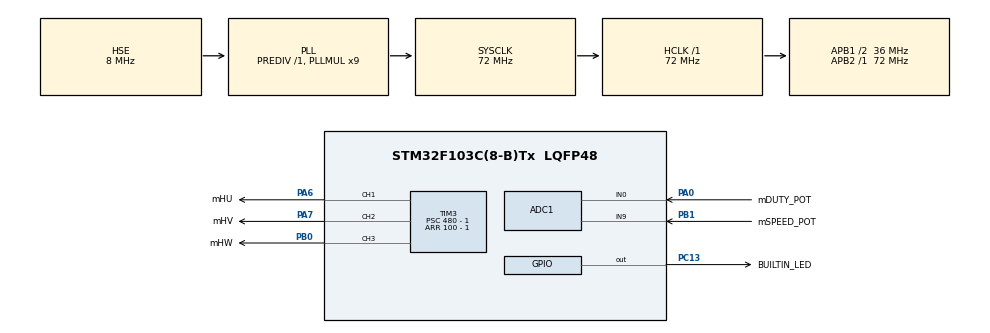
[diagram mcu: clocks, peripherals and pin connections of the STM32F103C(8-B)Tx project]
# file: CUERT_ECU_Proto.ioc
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ADC1.Channel-0\#ChannelRegularConversion=ADC_CHANNEL_9
ADC1.Channel-11\#ChannelRegularConversion=ADC_CHANNEL_0
ADC1.ContinuousConvMode=ENABLE
ADC1.NbrOfConversion=2
ADC1.NbrOfConversionFlag=1
ADC1.Rank-0\#ChannelRegularConversion=1
ADC1.Rank-11\#ChannelRegularConversion=2
ADC1.SamplingTime-0\#ChannelRegularConversion=ADC_SAMPLETIME_239CYCLES_5
ADC1.SamplingTime-11\#ChannelRegularConversion=ADC_SAMPLETIME_239CYCLES_5
ADC1.master=1
Dma.ADC1.0.Direction=DMA_PERIPH_TO_MEMORY
Dma.ADC1.0.Instance=DMA1_Channel1
Dma.ADC1.0.MemDataAlignment=DMA_MDATAALIGN_WORD
Dma.ADC1.0.MemInc=DMA_MINC_ENABLE
Dma.ADC1.0.Mode=DMA_CIRCULAR
Dma.ADC1.0.PeriphDataAlignment=DMA_PDATAALIGN_WORD
Dma.ADC1.0.PeriphInc=DMA_PINC_DISABLE
Dma.ADC1.0.Priority=DMA_PRIORITY_LOW
Dma.Request0=ADC1
Mcu.Family=STM32F1
Mcu.Name=STM32F103C(8-B)Tx
Mcu.Package=LQFP48
NVIC.DMA1_Channel1_IRQn=true\:0\:0\:false\:false\:true\:false\:true\:true
NVIC.PriorityGroup=NVIC_PRIORITYGROUP_4
NVIC.TIM1_UP_IRQn=true\:0\:0\:false\:false\:true\:true\:true\:true
NVIC.TIM3_IRQn=true\:0\:0\:false\:false\:true\:true\:true\:true
PA0-WKUP.GPIO_Label=mDUTY_POT
PA0-WKUP.Signal=ADCx_IN0
PA13.Mode=Serial_Wire
PA13.Signal=SYS_JTMS-SWDIO
PA14.Mode=Serial_Wire
PA14.Signal=SYS_JTCK-SWCLK
PA6.GPIO_Label=mHU
PA6.Signal=S_TIM3_CH1
PA7.GPIO_Label=mHV
PA7.Signal=S_TIM3_CH2
PB0.GPIO_Label=mHW
PB0.Signal=S_TIM3_CH3
PB1.GPIO_Label=mSPEED_POT
PB1.Signal=ADCx_IN9
PC13-TAMPER-RTC.GPIO_Label=BUILTIN_LED
PC13-TAMPER-RTC.GPIO_PuPd=GPIO_PULLDOWN
PC13-TAMPER-RTC.Signal=GPIO_Output
PD0-OSC_IN.Mode=HSE-External-Oscillator
PD0-OSC_IN.Signal=RCC_OSC_IN
PD1-OSC_OUT.Mode=HSE-External-Oscillator
PD1-OSC_OUT.Signal=RCC_OSC_OUT
ProjectManager.HeapSize=0x200
ProjectManager.StackSize=0x400
ProjectManager.TargetToolchain=STM32CubeIDE
RCC.ADCPresc=RCC_ADCPCLK2_DIV6
RCC.AHBFreq_Value=72000000
RCC.APB1CLKDivider=RCC_HCLK_DIV2
RCC.APB1Freq_Value=36000000
RCC.APB1TimFreq_Value=72000000
RCC.APB2Freq_Value=72000000
RCC.APB2TimFreq_Value=72000000
RCC.HCLKFreq_Value=72000000
RCC.PLLMUL=RCC_PLL_MUL9
RCC.PLLSourceVirtual=RCC_PLLSOURCE_HSE
RCC.SYSCLKFreq_VALUE=72000000
RCC.SYSCLKSource=RCC_SYSCLKSOURCE_PLLCLK
RCC.USBFreq_Value=72000000
SH.ADCx_IN0.0=ADC1_IN0,IN0
SH.ADCx_IN9.0=ADC1_IN9,IN9
SH.S_TIM3_CH1.0=TIM3_CH1,PWM Generation1 CH1
SH.S_TIM3_CH2.0=TIM3_CH2,PWM Generation2 CH2
SH.S_TIM3_CH3.0=TIM3_CH3,PWM Generation3 CH3
TIM1.Period=60000 - 1
TIM1.Prescaler=2400 - 1
TIM3.Channel-PWM\ Generation1\ CH1=TIM_CHANNEL_1
TIM3.Channel-PWM\ Generation2\ CH2=TIM_CHANNEL_2
TIM3.Channel-PWM\ Generation3\ CH3=TIM_CHANNEL_3
TIM3.CounterMode=TIM_COUNTERMODE_UP
TIM3.OCFastMode_PWM-PWM\ Generation1\ CH1=TIM_OCFAST_ENABLE
TIM3.OCFastMode_PWM-PWM\ Generation2\ CH2=TIM_OCFAST_ENABLE
TIM3.OCFastMode_PWM-PWM\ Generation3\ CH3=TIM_OCFAST_ENABLE
TIM3.OCPolarity_3=TIM_OCPOLARITY_HIGH
TIM3.Period=100 - 1
TIM3.Prescaler=480 - 1
VP_TIM1_VS_ClockSourceINT.Mode=Internal
VP_TIM3_VS_ClockSourceINT.Mode=Internal
board=custom

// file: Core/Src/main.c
/* USER CODE BEGIN Header */
/**
  ******************************************************************************
  * @file           : main.c
  * @brief          : Main program body
  ******************************************************************************
  * @attention
  *
  * Copyright (c) 2024 STMicroelectronics.
  * All rights reserved.
  *
  * This software is licensed under terms that can be found in the LICENSE file
  * in the root directory of this software component.
  * If no LICENSE file comes with this software, it is provided AS-IS.
  *
  ******************************************************************************
  */
/* USER CODE END Header */
#include "main.h"
#include "adc.h"
#include "dma.h"
#include "tim.h"
#include "gpio.h"

/* USER CODE BEGIN PV */

__IO union
{
	uint8_t allBits;
	struct
	{
		uint8_t MotorDirection 	: 1;
		uint8_t MotorState 		: 1;
		uint8_t AdcConversionsCompleted : 1;
		uint8_t Flag3 : 1;
		uint8_t Flag4 : 1;
		uint8_t Flag5 : 1;
		uint8_t Flag6 : 1;
		uint8_t Flag7 : 1;
	} Bits;
} Flags;

__IO union
{
	uint8_t Sector;
	struct
	{
		uint8_t HallW 		: 1;
		uint8_t HallV 		: 1;
		uint8_t HallU 		: 1;
		uint8_t Reserved 	: 5;
	} Instance;

} HallSensors = {0};

__IO uint32_t AdcConversions[2];
__IO uint32_t newPrescaler = 0;
__IO uint32_t MotorRPS = 0;
__IO uint8_t CurrentDutyCycle = 50;

/* USER CODE END PV */

void SystemClock_Config(void);

int main(void)
{

  /* MCU Configuration--------------------------------------------------------*/

  /* Reset of all peripherals, Initializes the Flash interface and the Systick. */
  HAL_Init();

  /* Configure the system clock */
  SystemClock_Config();

  /* Initialize all configured peripherals */
  MX_GPIO_Init();
  MX_DMA_Init();
  MX_ADC1_Init();
  MX_TIM1_Init();
  MX_TIM3_Init();
  /* USER CODE BEGIN 2 */

  HAL_ADC_Start_DMA(&hadc1, (uint32_t *)AdcConversions, 2);

  HAL_TIM_Base_Start_IT(&htim1);
  HAL_TIM_PWM_Start(mHU_TIMER_HANDLE, mHU_TIMER_CHANNEL);
  HAL_TIM_PWM_Start(mHV_TIMER_HANDLE, mHV_TIMER_CHANNEL);
  HAL_TIM_PWM_Start(mHW_TIMER_HANDLE, mHW_TIMER_CHANNEL);

  /* USER CODE END 2 */

  /* Infinite loop */
  while (1)
  {

    /* USER CODE BEGIN 3 */

	  newPrescaler = (uint32_t)((float)((-0.5841f * AdcConversions[mSPEED_POT_INDEX] + 2400.0f ) - 1));
	  __HAL_TIM_SET_PRESCALER(&htim1, newPrescaler);

	  CurrentDutyCycle = (uint8_t)(0.02442 * AdcConversions[mDUTY_POT_INDEX]);

  }
  /* USER CODE END 3 */
}

void SystemClock_Config(void)
{
  RCC_OscInitTypeDef RCC_OscInitStruct = {0};
  RCC_ClkInitTypeDef RCC_ClkInitStruct = {0};
  RCC_PeriphCLKInitTypeDef PeriphClkInit = {0};

  /** Initializes the RCC Oscillators according to the specified parameters
  * in the RCC_OscInitTypeDef structure.
  */
  RCC_OscInitStruct.OscillatorType = RCC_OSCILLATORTYPE_HSE;
  RCC_OscInitStruct.HSEState = RCC_HSE_ON;
  RCC_OscInitStruct.HSEPredivValue = RCC_HSE_PREDIV_DIV1;
  RCC_OscInitStruct.HSIState = RCC_HSI_ON;
  RCC_OscInitStruct.PLL.PLLState = RCC_PLL_ON;
  RCC_OscInitStruct.PLL.PLLSource = RCC_PLLSOURCE_HSE;
  RCC_OscInitStruct.PLL.PLLMUL = RCC_PLL_MUL9;
  if (HAL_RCC_OscConfig(&RCC_OscInitStruct) != HAL_OK)
  {
    Error_Handler();
  }

  /** Initializes the CPU, AHB and APB buses clocks
  */
  RCC_ClkInitStruct.ClockType = RCC_CLOCKTYPE_HCLK|RCC_CLOCKTYPE_SYSCLK
                              |RCC_CLOCKTYPE_PCLK1|RCC_CLOCKTYPE_PCLK2;
  RCC_ClkInitStruct.SYSCLKSource = RCC_SYSCLKSOURCE_PLLCLK;
  RCC_ClkInitStruct.AHBCLKDivider = RCC_SYSCLK_DIV1;
  RCC_ClkInitStruct.APB1CLKDivider = RCC_HCLK_DIV2;
  RCC_ClkInitStruct.APB2CLKDivider = RCC_HCLK_DIV1;

  if (HAL_RCC_ClockConfig(&RCC_ClkInitStruct, FLASH_LATENCY_2) != HAL_OK)
  {
    Error_Handler();
  }
  PeriphClkInit.PeriphClockSelection = RCC_PERIPHCLK_ADC;
  PeriphClkInit.AdcClockSelection = RCC_ADCPCLK2_DIV6;
  if (HAL_RCCEx_PeriphCLKConfig(&PeriphClkInit) != HAL_OK)
  {
    Error_Handler();
  }
}

/* USER CODE BEGIN 4 */
void S180_UpdateCommutation(void)
{
	switch (HallSensors.Sector)
	{
		case (SECTOR_1):

			SetDutyCycle(mHU_TIMER_HANDLE, mHU_TIMER_CHANNEL, CurrentDutyCycle);
			SetDutyCycle(mHV_TIMER_HANDLE, mHV_TIMER_CHANNEL, 0);
			SetDutyCycle(mHW_TIMER_HANDLE, mHW_TIMER_CHANNEL, CurrentDutyCycle);

			break;

		case (SECTOR_2):

			SetDutyCycle(mHU_TIMER_HANDLE, mHU_TIMER_CHANNEL, CurrentDutyCycle);
			SetDutyCycle(mHV_TIMER_HANDLE, mHV_TIMER_CHANNEL, 0);
			SetDutyCycle(mHW_TIMER_HANDLE, mHW_TIMER_CHANNEL, 0);

			break;

		case (SECTOR_3):

			SetDutyCycle(mHU_TIMER_HANDLE, mHU_TIMER_CHANNEL, CurrentDutyCycle);
			SetDutyCycle(mHV_TIMER_HANDLE, mHV_TIMER_CHANNEL, CurrentDutyCycle);
			SetDutyCycle(mHW_TIMER_HANDLE, mHW_TIMER_CHANNEL, 0);

			break;

		case (SECTOR_4):

			SetDutyCycle(mHU_TIMER_HANDLE, mHU_TIMER_CHANNEL, 0);
			SetDutyCycle(mHV_TIMER_HANDLE, mHV_TIMER_CHANNEL, CurrentDutyCycle);
			SetDutyCycle(mHW_TIMER_HANDLE, mHW_TIMER_CHANNEL, 0);

			break;

		case (SECTOR_5):

			SetDutyCycle(mHU_TIMER_HANDLE, mHU_TIMER_CHANNEL, 0);
			SetDutyCycle(mHV_TIMER_HANDLE, mHV_TIMER_CHANNEL, CurrentDutyCycle);
			SetDutyCycle(mHW_TIMER_HANDLE, mHW_TIMER_CHANNEL, CurrentDutyCycle);

			break;

		case (SECTOR_6):

			SetDutyCycle(mHU_TIMER_HANDLE, mHU_TIMER_CHANNEL, 0);
			SetDutyCycle(mHV_TIMER_HANDLE, mHV_TIMER_CHANNEL, 0);
			SetDutyCycle(mHW_TIMER_HANDLE, mHW_TIMER_CHANNEL, CurrentDutyCycle);

			break;

		default: break;
	}
}

void SetDutyCycle(TIM_HandleTypeDef *htim, uint32_t pwmChannel, uint8_t DutyCyclePercentage)
{
	if ( (0 <= DutyCyclePercentage) && (DutyCyclePercentage <= 100) )
	{
		uint32_t pwmMaxCounterValue = __HAL_TIM_GET_AUTORELOAD(htim);
		uint32_t pwmNewCounterValue = (uint32_t)( ((float)DutyCyclePercentage / 100.0f) * (float)pwmMaxCounterValue );

		__HAL_TIM_SET_COMPARE(htim, pwmChannel, pwmNewCounterValue);
	}
}
/* USER CODE END 4 */

void Error_Handler(void)
{
  __disable_irq();
  while (1)
  {
  }
}
